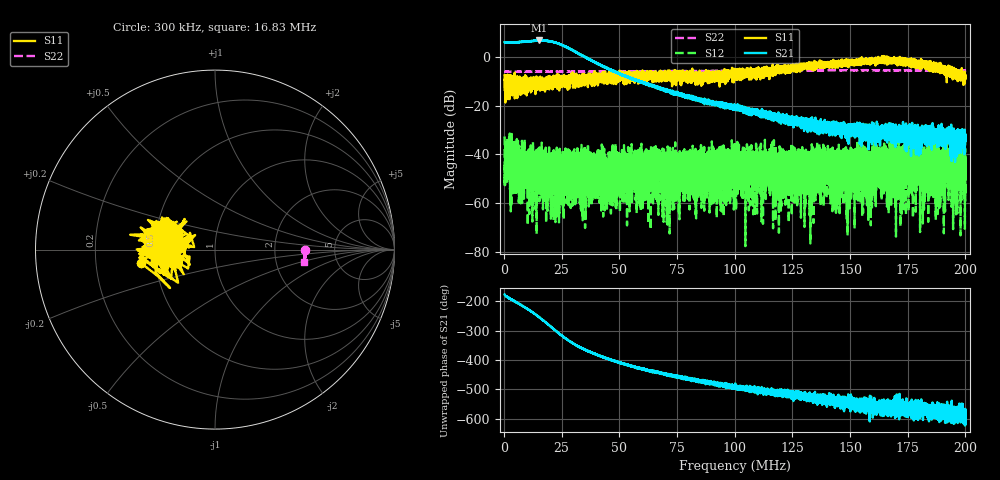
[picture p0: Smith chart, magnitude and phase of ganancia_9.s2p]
# Hz S DB R 50
! CMT, M5065, 19127446, 24.2.4/2
! Date: 10/29/2024 1:06:39 PM
! Data: Format (Calibration Info)
! Freq	S11:dB/Ang(F2)	S21:dB/Ang(F2)	S12:dB/Ang(F2)	S22:dB/Ang(F2)
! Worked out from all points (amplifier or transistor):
!   9000 points, 300 kHz to 200 MHz, reference 50 ohm
!   highest |S21| = 6.9 dB at 15.15 MHz (marker M1)
!   |S21| within 3 dB of that: start of sweep to 27.66 MHz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
!   unconditionally stable (mu >= 1): start of sweep to 162.2 MHz; 166.2 MHz to 169.1 MHz; 171.5 MHz to end of sweep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
!   at 33.59 MHz: K = 108.24, MAG = 2.6 dB, |S12| = -51.1 dB
!   at 100.2 MHz: K = 625.19, MAG = -18.4 dB, |S12| = -46.3 dB
!   at 200 MHz: K = 1846.15, MAG = -30.6 dB, |S12| = -42.9 dB
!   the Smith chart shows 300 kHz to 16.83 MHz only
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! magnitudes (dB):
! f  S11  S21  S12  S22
! 300 kHz  -7.5  6.1  -32.6  -6.0
! 1.365 MHz  -9.8  6.1  -51.2  -6.0
! 3.651 MHz  -11.7  6.0  -41.9  -6.0
! 13.19 MHz  -9.0  6.7  -49.0  -6.0
! 15.15 MHz  -10.8  6.9  -51.3  -6.0
! 33.59 MHz  -9.8  0.8  -51.1  -5.9
! 66.87 MHz  -7.4  -12.9  -44.2  -5.8
! 95.83 MHz  -7.5  -19.5  -38.6  -5.7
! 100.2 MHz  -5.7  -21.1  -46.3  -5.7
! 133.4 MHz  -2.8  -28.0  -39.3  -5.4
! 139.9 MHz  -2.7  -28.6  -41.2  -5.4
! 142.3 MHz  -3.1  -30.5  -59.7  -5.4
! 147.4 MHz  -2.0  -30.0  -48.1  -5.4
! 149.4 MHz  -1.6  -28.6  -46.7  -5.4
! 155.6 MHz  -1.5  -31.8  -41.3  -5.3
! 166.7 MHz  -0.7  -28.1  -48.6  -5.4
! 168.1 MHz  -1.3  -29.3  -53.1  -5.4
! 170.9 MHz  -2.1  -31.4  -45.6  -5.4
! 179.8 MHz  -3.8  -29.7  -43.8  -5.5
! 182.3 MHz  -2.1  -31.2  -56.4  -5.4
! 184.2 MHz  -4.0  -31.3  -53.2  -5.5
! 200 MHz  -8.1  -32.8  -42.9  -5.5
